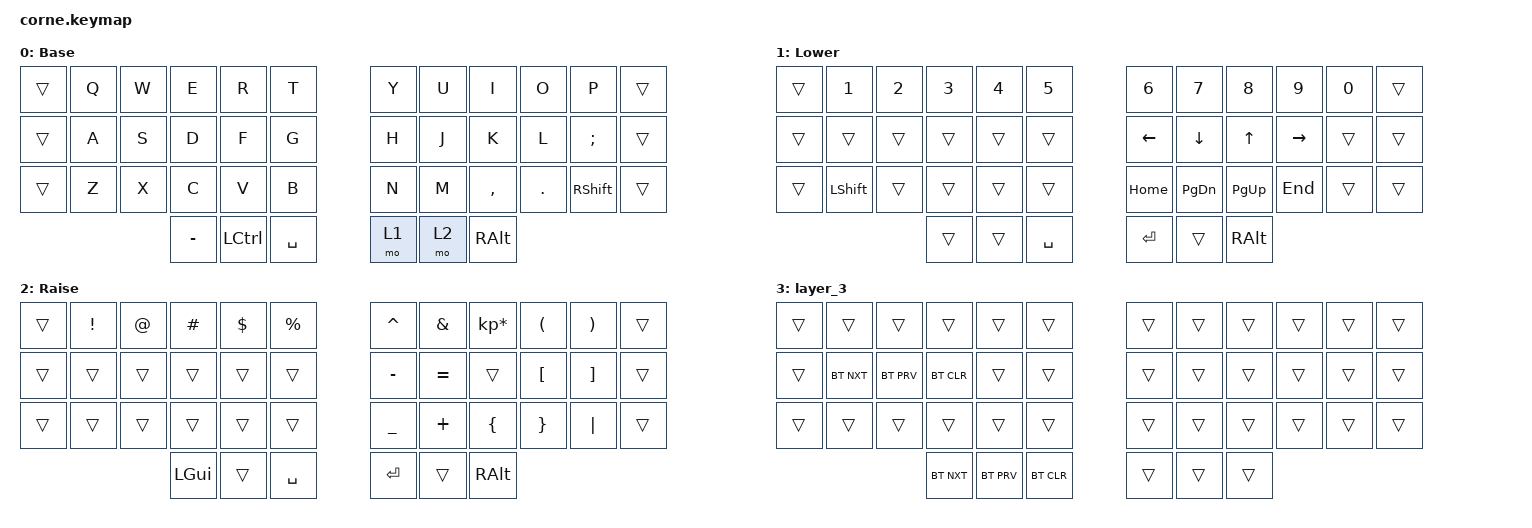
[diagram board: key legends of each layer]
/*
 * Copyright (c) 2020 The ZMK Contributors
 *
 * SPDX-License-Identifier: MIT
 */

#include <behaviors.dtsi>
#include <dt-bindings/zmk/bt.h>
#include <dt-bindings/zmk/keys.h>

/ {
    combos {
        compatible = "zmk,combos";

        bsp {
            bindings = <&kp BACKSPACE>;
            key-positions = <19 20>;
        };

        ent {
            bindings = <&kp ENTER>;
            key-positions = <31 32>;
        };

        cx {
            bindings = <&kp LC(X)>;
            key-positions = <25 26>;
        };

        cc {
            bindings = <&kp LC(C)>;
            key-positions = <26 27>;
        };

        cv {
            bindings = <&kp LC(V)>;
            key-positions = <27 28>;
        };

        esc {
            bindings = <&kp ESCAPE>;
            key-positions = <1 2>;
        };

        alt4 {
            bindings = <&kp LA(F4)>;
            key-positions = <1 2 3>;
        };

        f5 {
            bindings = <&kp F5>;
            key-positions = <3 4 5>;
        };

        question {
            bindings = <&kp QUESTION>;
            key-positions = <34 33>;
        };

        cb {
            bindings = <&kp LC(B)>;
            key-positions = <28 29>;
        };

        ca {
            bindings = <&kp LC(A)>;
            key-positions = <13 14>;
        };

        b {
            bindings = <&kp B>;
            key-positions = <30 31>;
        };

        p {
            bindings = <&kp LS(P)>;
            key-positions = <9 10>;
        };

        o {
            bindings = <&kp LS(O)>;
            key-positions = <9 8>;
        };

        aps {
            bindings = <&kp LS(SEMICOLON)>;
            key-positions = <22 21>;
        };

        f2 {
            bindings = <&kp F2>;
            key-positions = <2 3>;
        };

        lshftEnt {
            bindings = <&kp LS(ENTER)>;
            key-positions = <31 32 33>;
        };

        ctrlZ {
            bindings = <&kp LC(Z)>;
            key-positions = <25 36>;
        };

        tidle {
            bindings = <&kp TILDE>;
            key-positions = <1 25>;
        };

        tab {
            bindings = <&kp TAB>;
            key-positions = <6 7>;
        };

        capture {
            bindings = <&kp LC(LS(C))>;
            key-positions = <25 26 27>;
        };

        auphostropi {
            bindings = <&kp LS(APOSTROPHE)>;
            key-positions = <20 21 22>;
        };

        layer3 {
            bindings = <&mo 3>;
            key-positions = <39 40>;
        };

        r_alt {
            bindings = <&kp RIGHT_ALT>;
            key-positions = <15 16>;
        };

        ffff5555 {
            bindings = <&kp F5>;
            key-positions = <1 5>;
        };
    };

    keymap {
        compatible = "zmk,keymap";

        default_layer {
            // -----------------------------------------------------------------------------------------
            // |  TAB |  Q  |  W  |  E  |  R  |  T  |   |  Y  |  U   |  I  |  O  |  P  | BKSP |
            // | CTRL |  A  |  S  |  D  |  F  |  G  |   |  H  |  J   |  K  |  L  |  ;  |  '   |
            // | SHFT |  Z  |  X  |  C  |  V  |  B  |   |  N  |  M   |  ,  |  .  |  /  | ESC  |
            //                    | GUI | LWR | SPC |   | ENT | RSE  | ALT |

            display-name = "Base";
            bindings = <
&trans  &kp Q  &kp W  &kp E      &kp R             &kp T        &kp Y  &kp U  &kp I      &kp O    &kp P            &trans
&trans  &kp A  &kp S  &kp D      &kp F             &kp G        &kp H  &kp J  &kp K      &kp L    &kp SEMI         &trans
&trans  &kp Z  &kp X  &kp C      &kp V             &kp B        &kp N  &kp M  &kp COMMA  &kp DOT  &kp RIGHT_SHIFT  &trans
                      &kp MINUS  &kp LEFT_CONTROL  &kp SPACE    &mo 1  &mo 2  &kp RALT
            >;
        };

        lower_layer {
            // -----------------------------------------------------------------------------------------
            // |  TAB |  1  |  2  |  3  |  4  |  5  |   |  6  |  7  |  8  |  9  |  0  | BKSP |
            // | BTCLR| BT1 | BT2 | BT3 | BT4 | BT5 |   | LFT | DWN |  UP | RGT |     |      |
            // | SHFT |     |     |     |     |     |   |     |     |     |     |     |      |
            //                    | GUI |     | SPC |   | ENT |     | ALT |

            display-name = "Lower";
            bindings = <
&trans  &kp N1          &kp N2  &kp N3  &kp N4  &kp N5       &kp N6    &kp N7         &kp N8       &kp N9     &kp N0  &trans
&trans  &trans          &trans  &trans  &trans  &trans       &kp LEFT  &kp DOWN       &kp UP       &kp RIGHT  &trans  &trans
&trans  &kp LEFT_SHIFT  &trans  &trans  &trans  &trans       &kp HOME  &kp PAGE_DOWN  &kp PAGE_UP  &kp END    &trans  &trans
                                &trans  &trans  &kp SPACE    &kp RET   &trans         &kp RALT
            >;
        };

        raise_layer {
            // -----------------------------------------------------------------------------------------
            // |  TAB |  !  |  @  |  #  |  $  |  %  |   |  ^  |  &  |  *  |  (  |  )  | BKSP |
            // | CTRL |     |     |     |     |     |   |  -  |  =  |  [  |  ]  |  \  |  `   |
            // | SHFT |     |     |     |     |     |   |  _  |  +  |  {  |  }  | "|" |  ~   |
            //                    | GUI |     | SPC |   | ENT |     | ALT |

            display-name = "Raise";
            bindings = <
&trans  &kp EXCL  &kp AT  &kp HASH  &kp DLLR  &kp PRCNT    &kp CARET  &kp AMPS   &kp KP_MULTIPLY  &kp LPAR          &kp RPAR           &trans
&trans  &trans    &trans  &trans    &trans    &trans       &kp MINUS  &kp EQUAL  &trans           &kp LEFT_BRACKET  &kp RIGHT_BRACKET  &trans
&trans  &trans    &trans  &trans    &trans    &trans       &kp UNDER  &kp PLUS   &kp LBRC         &kp RBRC          &kp PIPE           &trans
                          &kp LGUI  &trans    &kp SPACE    &kp RET    &trans     &kp RALT
            >;
        };

        layer_3 {
            bindings = <
&trans  &trans      &trans      &trans      &trans      &trans        &trans  &trans  &trans  &trans  &trans  &trans
&trans  &bt BT_NXT  &bt BT_PRV  &bt BT_CLR  &trans      &trans        &trans  &trans  &trans  &trans  &trans  &trans
&trans  &trans      &trans      &trans      &trans      &trans        &trans  &trans  &trans  &trans  &trans  &trans
                                &bt BT_NXT  &bt BT_PRV  &bt BT_CLR    &trans  &trans  &trans
            >;
        };
    };
};
